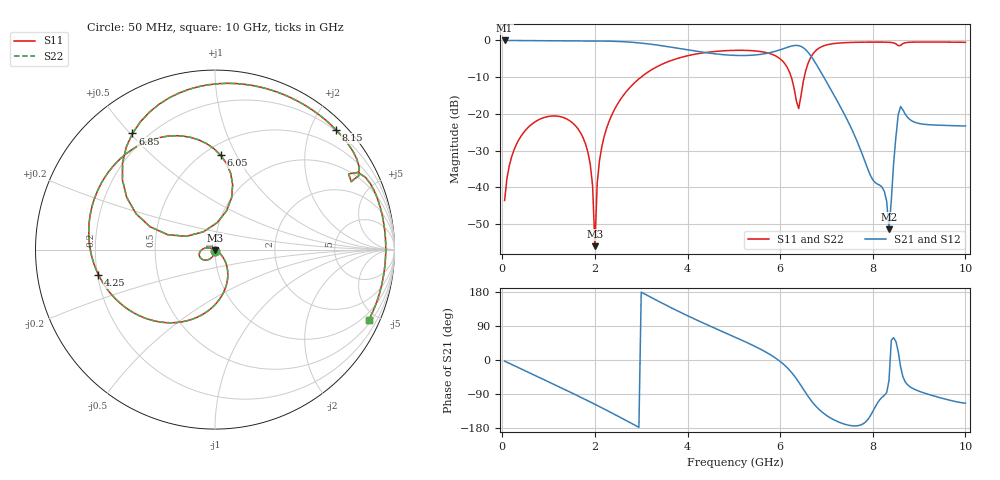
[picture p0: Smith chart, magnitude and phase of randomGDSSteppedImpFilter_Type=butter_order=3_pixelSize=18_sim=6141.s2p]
! freq	dB(S11)	phase(S11)	dB(S12)	phase(S12)
!  dB(S21)	phase(S21)	dB(S22)	phase(S22)
!S-par simulation data
#  GHz  S  DB  R 50
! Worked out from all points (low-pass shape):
!   200 points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, 50 MHz to 10 GHz, reference 50 ohm
!   highest |S21| = -0.01 dB at 50 MHz (marker M1); lowest = -51.3 dB at 8.35 GHz (marker M2)
!   |S21| within 3 dB of the highest: start of sweep to 4.22 GHz; 5.879 GHz to 6.587 GHz (708.6 MHz wide, 11.4 % of centre)
!   lowest |S11| = -56.0 dB at 2 GHz (marker M3), VSWR 1.00, Z = 50 - j0.152 ohm
!   |S11| at or under -10 dB: start of sweep to 2.994 GHz; 6.24 GHz to 6.52 GHz (280.2 MHz wide, 4.39 % of centre)
!   |S22| runs from -56.4 to -0.4 dB; largest |S21 - S12| = 0
!   S11 on the Smith chart (normalised r, x): 50 MHz: 1.00, -0.01; 4.25 GHz: 0.20, -0.10; 6.05 GHz: 0.60, +0.87; 6.85 GHz: 0.14, +0.51; 8.15 GHz: 0.18, +2.42; 10 GHz: 0.65, -4.51
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0.05  -43.54 -92.8  -0.01 -2.9  -0.01 -2.9  -43.54 -92.8
0.25  -29.88 -104.5  -0.03 -14.5  -0.03 -14.5  -29.88 -104.5
0.65  -22.66 -128.1  -0.07 -37.6  -0.07 -37.6  -22.66 -128.2
1.75  -26.63 168.2  -0.13 -101.7  -0.13 -101.7  -26.63 168.0
1.95  -39.57 159.2  -0.14 -113.8  -0.14 -113.8  -39.59 158.1
2  -55.98 -106.8  -0.14 -116.8  -0.14 -116.8  -56.41 -105.1
2.05  -38.75 -34.7  -0.15 -119.9  -0.15 -119.9  -38.75 -33.7
2.1  -32.58 -35.9  -0.15 -123.0  -0.15 -123.0  -32.58 -35.4
2.3  -22.22 -47.2  -0.20 -135.6  -0.20 -135.6  -22.22 -47.0
3.4  -6.78 -117.6  -1.36 153.3  -1.36 153.3  -6.78 -117.6
4.25  -3.55 -167.8  -3.06 102.6  -3.06 102.6  -3.55 -167.8
5.05  -2.69 149.3  -4.08 59.0  -4.08 59.0  -2.69 149.3
6.05  -5.58 86.5  -2.33 -8.8  -2.33 -8.8  -5.58 86.4
6.4  -18.54 123.3  -1.42 -58.2  -1.42 -58.2  -18.53 123.2
6.7  -3.80 143.0  -4.89 -111.8  -4.89 -111.8  -3.80 143.0
6.85  -2.01 125.4  -7.96 -131.5  -7.96 -131.5  -2.01 125.3
7.35  -0.64 85.9  -19.20 -167.7  -19.20 -167.7  -0.64 85.9
8.15  -0.46 44.7  -39.38 -105.1  -39.38 -105.1  -0.46 44.6
8.35  -0.51 35.1  -51.34 -54.3  -51.34 -54.3  -0.51 35.0
8.5  -0.93 27.2  -26.16 48.7  -26.16 48.7  -0.93 27.1
8.6  -1.36 29.5  -17.99 -17.5  -17.99 -17.5  -1.36 29.4
10  -0.52 -24.5  -23.26 -113.8  -23.26 -113.8  -0.52 -24.6
